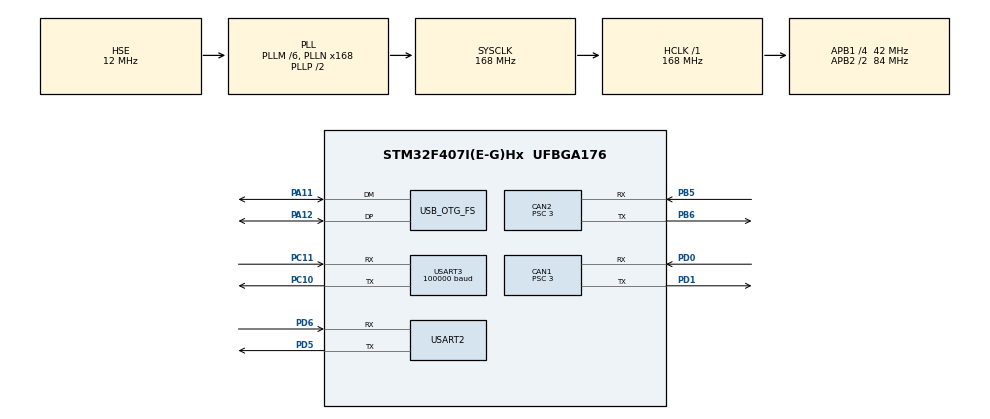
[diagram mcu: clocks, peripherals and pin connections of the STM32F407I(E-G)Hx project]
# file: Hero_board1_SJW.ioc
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CAN1.BS1=CAN_BS1_10TQ
CAN1.BS2=CAN_BS2_3TQ
CAN1.CalculateBaudRate=1000000
CAN1.CalculateTimeBit=1000
CAN1.CalculateTimeQuantum=71.42857142857143
CAN1.Prescaler=3
CAN1.TXFP=ENABLE
CAN2.BS1=CAN_BS1_10TQ
CAN2.BS2=CAN_BS2_3TQ
CAN2.CalculateBaudRate=1000000
CAN2.CalculateTimeBit=1000
CAN2.CalculateTimeQuantum=71.42857142857143
CAN2.Prescaler=3
CAN2.TXFP=ENABLE
Dma.Request0=USART3_RX
Dma.Request1=USART2_RX
Dma.USART2_RX.1.Direction=DMA_PERIPH_TO_MEMORY
Dma.USART2_RX.1.FIFOMode=DMA_FIFOMODE_DISABLE
Dma.USART2_RX.1.Instance=DMA1_Stream5
Dma.USART2_RX.1.MemDataAlignment=DMA_MDATAALIGN_BYTE
Dma.USART2_RX.1.MemInc=DMA_MINC_ENABLE
Dma.USART2_RX.1.Mode=DMA_CIRCULAR
Dma.USART2_RX.1.PeriphDataAlignment=DMA_PDATAALIGN_BYTE
Dma.USART2_RX.1.PeriphInc=DMA_PINC_DISABLE
Dma.USART2_RX.1.Priority=DMA_PRIORITY_LOW
Dma.USART3_RX.0.Direction=DMA_PERIPH_TO_MEMORY
Dma.USART3_RX.0.FIFOMode=DMA_FIFOMODE_DISABLE
Dma.USART3_RX.0.Instance=DMA1_Stream1
Dma.USART3_RX.0.MemDataAlignment=DMA_MDATAALIGN_BYTE
Dma.USART3_RX.0.MemInc=DMA_MINC_ENABLE
Dma.USART3_RX.0.Mode=DMA_CIRCULAR
Dma.USART3_RX.0.PeriphDataAlignment=DMA_PDATAALIGN_BYTE
Dma.USART3_RX.0.PeriphInc=DMA_PINC_DISABLE
Dma.USART3_RX.0.Priority=DMA_PRIORITY_VERY_HIGH
FREERTOS.INCLUDE_vTaskDelayUntil=1
FREERTOS.INCLUDE_xTaskGetHandle=1
FREERTOS.Tasks01=defaultTask,0,128,StartDefaultTask,Default,NULL,Dynamic,NULL,NULL;StartTask,3,128,ALL_Init,Default,NULL,Dynamic,NULL,NULL
Mcu.Family=STM32F4
Mcu.Name=STM32F407I(E-G)Hx
Mcu.Package=UFBGA176
NVIC.CAN1_RX0_IRQn=true\:5\:0\:false\:false\:true\:true\:true\:true\:true
NVIC.CAN1_TX_IRQn=true\:5\:0\:false\:false\:true\:true\:true\:true\:true
NVIC.CAN2_RX0_IRQn=true\:5\:0\:false\:false\:true\:true\:true\:true\:true
NVIC.CAN2_TX_IRQn=true\:5\:0\:false\:false\:true\:true\:true\:true\:true
NVIC.DMA1_Stream1_IRQn=true\:5\:0\:false\:false\:true\:true\:false\:true\:true
NVIC.DMA1_Stream5_IRQn=true\:5\:0\:false\:false\:true\:true\:false\:true\:true
NVIC.OTG_FS_IRQn=true\:5\:0\:false\:false\:true\:true\:true\:true\:true
NVIC.PriorityGroup=NVIC_PRIORITYGROUP_4
PA11.Mode=Device_Only
PA11.Signal=USB_OTG_FS_DM
PA12.Mode=Device_Only
PA12.Signal=USB_OTG_FS_DP
PA13.Mode=Serial_Wire
PA13.Signal=SYS_JTMS-SWDIO
PA14.Mode=Serial_Wire
PA14.Signal=SYS_JTCK-SWCLK
PB5.Mode=CAN_Activate
PB5.Signal=CAN2_RX
PB6.Mode=CAN_Activate
PB6.Signal=CAN2_TX
PC10.Mode=Asynchronous
PC10.Signal=USART3_TX
PC11.Mode=Asynchronous
PC11.Signal=USART3_RX
PD0.Mode=CAN_Activate
PD0.Signal=CAN1_RX
PD1.Mode=CAN_Activate
PD1.Signal=CAN1_TX
PD5.Mode=Asynchronous
PD5.Signal=USART2_TX
PD6.Mode=Asynchronous
PD6.Signal=USART2_RX
PH0-OSC_IN.Mode=HSE-External-Oscillator
PH0-OSC_IN.Signal=RCC_OSC_IN
PH1-OSC_OUT.Mode=HSE-External-Oscillator
PH1-OSC_OUT.Signal=RCC_OSC_OUT
ProjectManager.HeapSize=0x200
ProjectManager.StackSize=0x400
ProjectManager.TargetToolchain=MDK-ARM V5.32
RCC.48MHZClocksFreq_Value=48000000
RCC.AHBFreq_Value=168000000
RCC.APB1CLKDivider=RCC_HCLK_DIV4
RCC.APB1Freq_Value=42000000
RCC.APB1TimFreq_Value=84000000
RCC.APB2CLKDivider=RCC_HCLK_DIV2
RCC.APB2Freq_Value=84000000
RCC.APB2TimFreq_Value=168000000
RCC.CortexFreq_Value=168000000
RCC.HCLKFreq_Value=168000000
RCC.HSE_VALUE=12000000
RCC.HSI_VALUE=16000000
RCC.LSE_VALUE=32768
RCC.PLLM=6
RCC.PLLN=168
RCC.PLLQ=7
RCC.SYSCLKFreq_VALUE=168000000
RCC.SYSCLKSource=RCC_SYSCLKSOURCE_PLLCLK
RCC.VCOOutputFreq_Value=336000000
USART2.VirtualMode=VM_ASYNC
USART3.BaudRate=100000
USART3.VirtualMode=VM_ASYNC
USB_DEVICE.CLASS_NAME_FS=CDC
USB_DEVICE.VirtualMode-CDC_FS=Cdc
USB_DEVICE.VirtualModeFS=Cdc_FS
USB_OTG_FS.VirtualMode=Device_Only
VP_FREERTOS_VS_CMSIS_V1.Mode=CMSIS_V1
VP_RTC_VS_RTC_Activate.Mode=RTC_Enabled
VP_RTC_VS_RTC_Calendar.Mode=RTC_Calendar
VP_USB_DEVICE_VS_USB_DEVICE_CDC_FS.Mode=CDC_FS
board=custom

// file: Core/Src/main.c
/* USER CODE BEGIN Header */
/**
  ******************************************************************************
  * @file           : main.c
  * @brief          : Main program body
  ******************************************************************************
  * @attention
  *
  * Copyright (c) 2025 STMicroelectronics.
  * All rights reserved.
  *
  * This software is licensed under terms that can be found in the LICENSE file
  * in the root directory of this software component.
  * If no LICENSE file comes with this software, it is provided AS-IS.
  *
  ******************************************************************************
  */
/* USER CODE END Header */
#include "main.h"
#include "cmsis_os.h"
#include "can.h"
#include "dma.h"
#include "rtc.h"
#include "usart.h"
#include "usb_device.h"
#include "gpio.h"

void SystemClock_Config(void);
void MX_FREERTOS_Init(void);

int main(void)
{

  /* MCU Configuration--------------------------------------------------------*/

  /* Reset of all peripherals, Initializes the Flash interface and the Systick. */
  HAL_Init();

  /* Configure the system clock */
  SystemClock_Config();

  /* Initialize all configured peripherals */
  MX_GPIO_Init();
  MX_DMA_Init();
  MX_CAN1_Init();
  MX_CAN2_Init();
  MX_RTC_Init();
  MX_USART3_UART_Init();
  MX_USART2_UART_Init();

  /* Call init function for freertos objects (in cmsis_os2.c) */
  MX_FREERTOS_Init();

  /* Start scheduler */
  osKernelStart();

  /* We should never get here as control is now taken by the scheduler */

  /* Infinite loop */
  while (1)
  {

  }
}

void SystemClock_Config(void)
{
  RCC_OscInitTypeDef RCC_OscInitStruct = {0};
  RCC_ClkInitTypeDef RCC_ClkInitStruct = {0};

  /** Configure the main internal regulator output voltage
  */
  __HAL_RCC_PWR_CLK_ENABLE();
  __HAL_PWR_VOLTAGESCALING_CONFIG(PWR_REGULATOR_VOLTAGE_SCALE1);

  /** Initializes the RCC Oscillators according to the specified parameters
  * in the RCC_OscInitTypeDef structure.
  */
  RCC_OscInitStruct.OscillatorType = RCC_OSCILLATORTYPE_LSI|RCC_OSCILLATORTYPE_HSE;
  RCC_OscInitStruct.HSEState = RCC_HSE_ON;
  RCC_OscInitStruct.LSIState = RCC_LSI_ON;
  RCC_OscInitStruct.PLL.PLLState = RCC_PLL_ON;
  RCC_OscInitStruct.PLL.PLLSource = RCC_PLLSOURCE_HSE;
  RCC_OscInitStruct.PLL.PLLM = 6;
  RCC_OscInitStruct.PLL.PLLN = 168;
  RCC_OscInitStruct.PLL.PLLP = RCC_PLLP_DIV2;
  RCC_OscInitStruct.PLL.PLLQ = 7;
  if (HAL_RCC_OscConfig(&RCC_OscInitStruct) != HAL_OK)
  {
    Error_Handler();
  }

  /** Initializes the CPU, AHB and APB buses clocks
  */
  RCC_ClkInitStruct.ClockType = RCC_CLOCKTYPE_HCLK|RCC_CLOCKTYPE_SYSCLK
                              |RCC_CLOCKTYPE_PCLK1|RCC_CLOCKTYPE_PCLK2;
  RCC_ClkInitStruct.SYSCLKSource = RCC_SYSCLKSOURCE_PLLCLK;
  RCC_ClkInitStruct.AHBCLKDivider = RCC_SYSCLK_DIV1;
  RCC_ClkInitStruct.APB1CLKDivider = RCC_HCLK_DIV4;
  RCC_ClkInitStruct.APB2CLKDivider = RCC_HCLK_DIV2;

  if (HAL_RCC_ClockConfig(&RCC_ClkInitStruct, FLASH_LATENCY_5) != HAL_OK)
  {
    Error_Handler();
  }
}

void Error_Handler(void)
{
  __disable_irq();
  while (1)
  {
  }
}

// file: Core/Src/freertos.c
/* USER CODE BEGIN Header */
/**
 ******************************************************************************
 * File Name          : freertos.c
 * Description        : Code for freertos applications
 ******************************************************************************
 * @attention
 *
 * Copyright (c) 2025 STMicroelectronics.
 * All rights reserved.
 *
 * This software is licensed under terms that can be found in the LICENSE file
 * in the root directory of this software component.
 * If no LICENSE file comes with this software, it is provided AS-IS.
 *
 ******************************************************************************
 */
/* USER CODE END Header */

#include "FreeRTOS.h"
#include "task.h"
#include "main.h"
#include "cmsis_os.h"

/* USER CODE BEGIN Includes */
#include "typedef.h"
#include "pid.h"
#include "BSP_Can.h"
#include "BSP_Usart.h"
#include "Cloud_Control.h"
#include "Shoot.h"
#include "Task_LED.h"
#include "SBUS.h"
#include "DT7.h"
#include "BSP_Test.h"
#include "Saber_C3.h"
#include "Protocol_UpperComputer.h"
/* USER CODE END Includes */

/* USER CODE BEGIN Variables */
/***********Queues************/
QueueHandle_t CAN1_ReceiveHandle;              // can1接收队列
QueueHandle_t CAN2_ReceiveHandle;              // can2接收队列
QueueHandle_t CAN_SendHandle;                  // can发送队列
QueueHandle_t Communicate_ReceivefromPCHandle; // 从PC接收到的数据队列

/***********Tasks************/
osThreadId Task_Can1MsgRecHandle; // can1消息接收任务句柄
osThreadId Task_Can2MsgRecHandle; // can2消息接收任务句柄
osThreadId Task_CanSendHandle;    // can发送任务句柄
osThreadId Move_DataHandle;
osThreadId Robot_Control_Handle;          // 机器人控制任务句柄
osThreadId Task_CommunicateFromPC_Handle; // 从PC通信任务句柄
osThreadId Task_CommunicateToPC_Handle;   // 向PC通信任务句柄
osThreadId Task_OffLineCheck_Handle;      // 离线检查任务句柄;
osThreadId Task_DT7_Handle;               // 遥控器任务句柄;
/* USER CODE END Variables */
osThreadId defaultTaskHandle;
osThreadId StartTaskHandle;

/* USER CODE BEGIN FunctionPrototypes */
extern void Can1Receives(void const *argument);
extern void Can2Receives(void const *argument);
extern void AllCanSend(void const *argument);
extern void Robot_Control(void const *argument);
extern void USBCommunicateTask_Receive(void const *argument);
extern void USBCommunicateTask_Send(void const *argument);
extern void Off_Line_Check(void const *argument);
extern void DT7_Control(void const *argument);
/* USER CODE END FunctionPrototypes */

void StartDefaultTask(void const *argument);
void ALL_Init(void const *argument);

extern void MX_USB_DEVICE_Init(void);
void MX_FREERTOS_Init(void); /* (MISRA C 2004 rule 8.1) */

/* GetIdleTaskMemory prototype (linked to static allocation support) */
void vApplicationGetIdleTaskMemory(StaticTask_t **ppxIdleTaskTCBBuffer, StackType_t **ppxIdleTaskStackBuffer, uint32_t *pulIdleTaskStackSize);

/* USER CODE BEGIN GET_IDLE_TASK_MEMORY */
static StaticTask_t xIdleTaskTCBBuffer;
static StackType_t xIdleStack[configMINIMAL_STACK_SIZE];

void vApplicationGetIdleTaskMemory(StaticTask_t **ppxIdleTaskTCBBuffer, StackType_t **ppxIdleTaskStackBuffer, uint32_t *pulIdleTaskStackSize)
{
  *ppxIdleTaskTCBBuffer = &xIdleTaskTCBBuffer;
  *ppxIdleTaskStackBuffer = &xIdleStack[0];
  *pulIdleTaskStackSize = configMINIMAL_STACK_SIZE;
  /* place for user code */
}
/* USER CODE END GET_IDLE_TASK_MEMORY */

void MX_FREERTOS_Init(void)
{

  /* USER CODE BEGIN RTOS_QUEUES */
  /* add queues, ... */
  /* definition and creation of CAN1_Receive */
  CAN1_ReceiveHandle = xQueueCreate(16, sizeof(Can_Export_Data_t));

  /* definition and creation of CAN2_Receive */
  CAN2_ReceiveHandle = xQueueCreate(16, sizeof(Can_Export_Data_t));

  /* definition and creation of CAN_Send */
  CAN_SendHandle = xQueueCreate(16, sizeof(Can_Send_Data_t));

  /* definition and creation of Communicate_PC */
  Communicate_ReceivefromPCHandle = xQueueCreate(16, UpperCom_MAX_BUF);
  /* USER CODE END RTOS_QUEUES */

  /* Create the thread(s) */
  /* definition and creation of defaultTask */
  osThreadDef(defaultTask, StartDefaultTask, osPriorityNormal, 0, 128);
  defaultTaskHandle = osThreadCreate(osThread(defaultTask), NULL);

  /* definition and creation of StartTask */
  osThreadDef(StartTask, ALL_Init, osPriorityRealtime, 0, 128);
  StartTaskHandle = osThreadCreate(osThread(StartTask), NULL);

  /* USER CODE BEGIN RTOS_THREADS */
  /* add threads, ... */
  osThreadDef(OfflineCheckTask, Off_Line_Check, osPriorityAboveNormal, 0, 128);
  Task_OffLineCheck_Handle = osThreadCreate(osThread(OfflineCheckTask), NULL);
  /* definition and creation of Can1ReceiveTask */
  osThreadDef(Can1_ReceiveTask, Can1Receives, osPriorityAboveNormal, 0, 128);
  Task_Can1MsgRecHandle = osThreadCreate(osThread(Can1_ReceiveTask), NULL);

  /* definition and creation of Can1ReceiveTask */
  osThreadDef(Can2_ReceiveTask, Can2Receives, osPriorityAboveNormal, 0, 128);
  Task_Can2MsgRecHandle = osThreadCreate(osThread(Can2_ReceiveTask), NULL);

  /* definition and creation of CanSendTask */
  osThreadDef(Can_SendTask, AllCanSend, osPriorityHigh, 0, 256);
  Task_CanSendHandle = osThreadCreate(osThread(Can_SendTask), NULL);

  /* definition and creation of Robot_Control_Task */
  osThreadDef(Robot_Control_Task, Robot_Control, osPriorityHigh, 0, 256);
  Robot_Control_Handle = osThreadCreate(osThread(Robot_Control_Task), NULL);

  /* definition and creation of Task_CommunicateToPC_Handle */
  osThreadDef(Task_CommunicateToPC_Handle, USBCommunicateTask_Send, osPriorityAboveNormal, 0, 128);
  Task_CommunicateToPC_Handle = osThreadCreate(osThread(Task_CommunicateToPC_Handle), NULL);

  /* definition and creation of Task_CommunicateFromPC_Handle */
  osThreadDef(Task_CommunicateFromPC_Handle, USBCommunicateTask_Receive, osPriorityAboveNormal, 0, 128);
  Task_CommunicateFromPC_Handle = osThreadCreate(osThread(Task_CommunicateFromPC_Handle), NULL);

  /* definition and creation of Task_DT7_Handle */
  osThreadDef(Task_DT7_Handle, DT7_Control, osPriorityHigh, 0, 256);
  Task_DT7_Handle = osThreadCreate(osThread(Task_DT7_Handle), NULL);
  /* USER CODE END RTOS_THREADS */
}

void StartDefaultTask(void const *argument)
{
  /* init code for USB_DEVICE */
  MX_USB_DEVICE_Init();
  for (;;)
  {
    osDelay(1);
  }
}

void ALL_Init(void const *argument)
{
  /* USER CODE BEGIN ALL_Init */
  /* Infinite loop */
  for (;;)
  {
    taskENTER_CRITICAL();
    /*********初始化两个CAN控制协议，使用中断模式*********/
    Can_Fun.CAN_IT_Init(&hcan1, Can1_Type);
    Can_Fun.CAN_IT_Init(&hcan2, Can2_Type);
    /*********初始化PID*********/
    fuzzy_init(&fuzzy_pid_shoot_l, 100, -100, 25, 0.1, 10);
    fuzzy_init(&fuzzy_pid_shoot_r, 100, -100, 25, 0.1, 10);
    fuzzy_init(&fuzzy_pid_bullet_v, 30, -30, 5, 0.01, 3);
    fuzzy_init(&fuzzy_pid_bullet_l, 10, -10, 0.1, 0.01, 1);

    Incremental_PIDInit(&M3508_FricL_Pid, 40.f, 0, 30, 20000, 5000);
    Incremental_PIDInit(&M3508_FricR_Pid, 40.f, 0, 30, 20000, 5000);
    Position_PIDInit(&M2006_DialV_Pid, 20.0f, 0.01f, 0.5, 0.5, 20000, 8000, 700);
    Incremental_PIDInit(&M2006_DialI_Pid, 12.5f, 0.5f, 3, 10000, 1000);

    /**********4310初始化*********/
    J4310_Fun.J4310_Enable();
    Cloud_Init();
#if (RemoteControlMethod == TDF)
    SBUS_Init(); // 天地飞遥控器
#elif (RemoteControlMethod == DT7)
    DT7_Init(); // 大疆DT7遥控器
#endif
    vTaskDelete(StartTaskHandle); // 删除启动任务
    taskEXIT_CRITICAL();          // 退出临界区
    osDelay(1);
  }
  /* USER CODE END ALL_Init */
}
